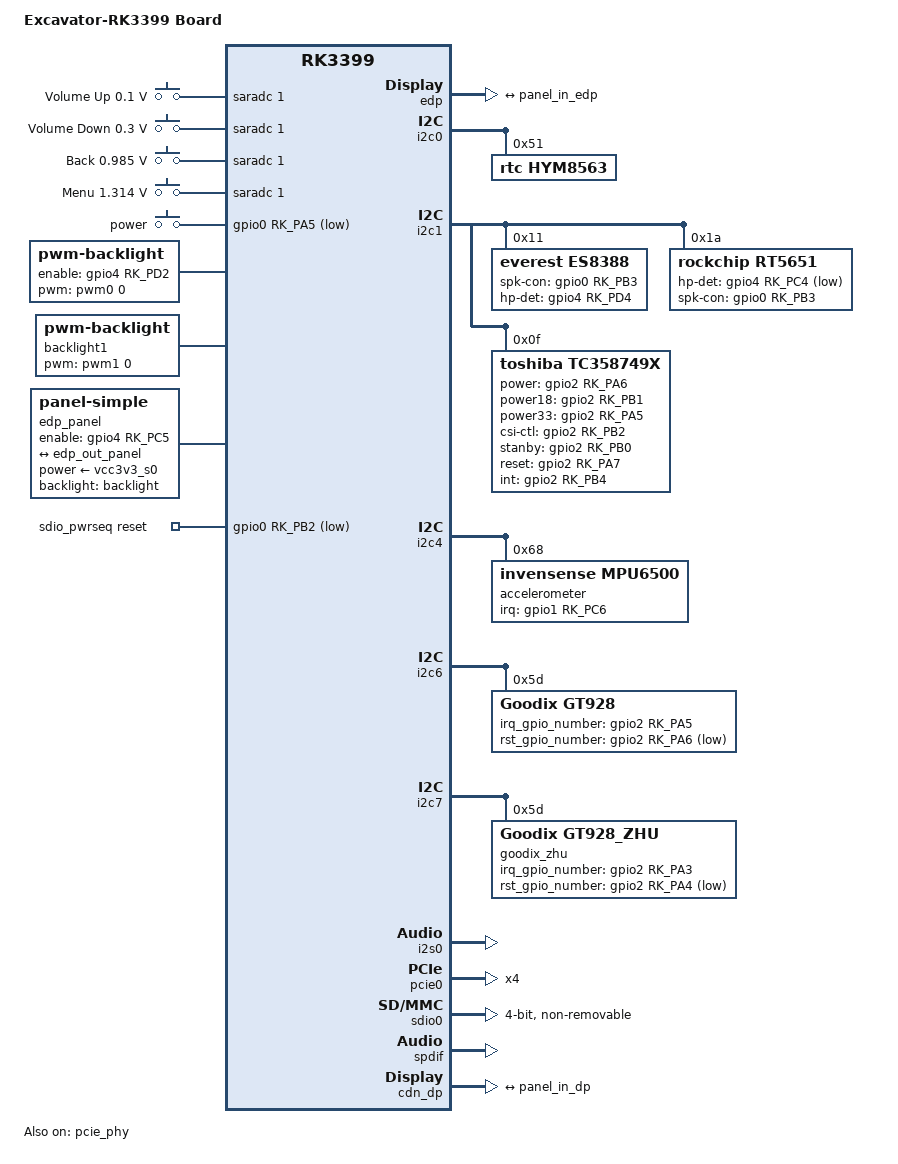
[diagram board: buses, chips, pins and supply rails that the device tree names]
// SPDX-License-Identifier: (GPL-2.0+ OR MIT)
/*
 * Copyright (c) 2017 Fuzhou Rockchip Electronics Co., Ltd.
 */

/dts-v1/;
#include "rk3399-sapphire.dtsi"

/ {
	model = "Excavator-RK3399 Board";
	compatible = "rockchip,rk3399-sapphire-excavator", "rockchip,rk3399";

	aliases {
		mmc2 = &sdio0;
	};

	adc-keys {
		compatible = "adc-keys";
		io-channels = <&saradc 1>;
		io-channel-names = "buttons";
		keyup-threshold-microvolt = <1800000>;
		poll-interval = <100>;

		button-up {
			label = "Volume Up";
			linux,code = <KEY_VOLUMEUP>;
			press-threshold-microvolt = <100000>;
		};

		button-down {
			label = "Volume Down";
			linux,code = <KEY_VOLUMEDOWN>;
			press-threshold-microvolt = <300000>;
		};

		button-back {
			label = "Back";
			linux,code = <KEY_BACK>;
			press-threshold-microvolt = <985000>;
		};

		button-menu {
			label = "Menu";
			linux,code = <KEY_MENU>;
			press-threshold-microvolt = <1314000>;
		};
	};

    rockchip-key {
        compatible = "gpio-keys";
        status = "okay";
        power-key {
            gpios = <&gpio0 RK_PA5 GPIO_ACTIVE_LOW>;
            linux,code = <0x74>;
            label = "power";
            gpio-key,wakeup;
        };
    };

	backlight: backlight {
		compatible = "pwm-backlight";
		brightness-levels = <
			  0   1   2   3   4   5   6   7
			  8   9  10  11  12  13  14  15
			 16  17  18  19  20  21  22  23
			 24  25  26  27  28  29  30  31
			 32  33  34  35  36  37  38  39
			 40  41  42  43  44  45  46  47
			 48  49  50  51  52  53  54  55
			 56  57  58  59  60  61  62  63
			 64  65  66  67  68  69  70  71
			 72  73  74  75  76  77  78  79
			 80  81  82  83  84  85  86  87
			 88  89  90  91  92  93  94  95
			 96  97  98  99 100 101 102 103
			104 105 106 107 108 109 110 111
			112 113 114 115 116 117 118 119
			120 121 122 123 124 125 126 127
			128 129 130 131 132 133 134 135
			136 137 138 139 140 141 142 143
			144 145 146 147 148 149 150 151
			152 153 154 155 156 157 158 159
			160 161 162 163 164 165 166 167
			168 169 170 171 172 173 174 175
			176 177 178 179 180 181 182 183
			184 185 186 187 188 189 190 191
			192 193 194 195 196 197 198 199
			200 201 202 203 204 205 206 207
			208 209 210 211 212 213 214 215
			216 217 218 219 220 221 222 223
			224 225 226 227 228 229 230 231
			232 233 234 235 236 237 238 239
			240 241 242 243 244 245 246 247
			248 249 250 251 252 253 254 255>;
		default-brightness-level = <200>;
		enable-gpios = <&gpio4 RK_PD2 GPIO_ACTIVE_HIGH>;//0x1a->26 24d0 25d1 26d2
		pwms = <&pwm0 0 25000 1>;
		status = "okay";
	};
	backlight1: backlight1 {
		compatible = "pwm-backlight";
		brightness-levels = <
			  0   1   2   3   4   5   6   7
			  8   9  10  11  12  13  14  15
			 16  17  18  19  20  21  22  23
			 24  25  26  27  28  29  30  31
			 32  33  34  35  36  37  38  39
			 40  41  42  43  44  45  46  47
			 48  49  50  51  52  53  54  55
			 56  57  58  59  60  61  62  63
			 64  65  66  67  68  69  70  71
			 72  73  74  75  76  77  78  79
			 80  81  82  83  84  85  86  87
			 88  89  90  91  92  93  94  95
			 96  97  98  99 100 101 102 103
			104 105 106 107 108 109 110 111
			112 113 114 115 116 117 118 119
			120 121 122 123 124 125 126 127
			128 129 130 131 132 133 134 135
			136 137 138 139 140 141 142 143
			144 145 146 147 148 149 150 151
			152 153 154 155 156 157 158 159
			160 161 162 163 164 165 166 167
			168 169 170 171 172 173 174 175
			176 177 178 179 180 181 182 183
			184 185 186 187 188 189 190 191
			192 193 194 195 196 197 198 199
			200 201 202 203 204 205 206 207
			208 209 210 211 212 213 214 215
			216 217 218 219 220 221 222 223
			224 225 226 227 228 229 230 231
			232 233 234 235 236 237 238 239
			240 241 242 243 244 245 246 247
			248 249 250 251 252 253 254 255>;
		default-brightness-level = <200>;
		// enable-gpios = <&gpio4 RK_PD2 GPIO_ACTIVE_HIGH>;//0x1a->26 24d0 25d1 26d2
		pwms = <&pwm1 0 25000 1>;
		status = "okay";
	};

	edp_panel: edp-panel {
		compatible = "panel-simple";
		backlight = <&backlight>;
		enable-gpios = <&gpio4 RK_PC5 GPIO_ACTIVE_HIGH>;//0x15->21 16c0 17c1 18c2 19c3 20c4  21c5
		// pinctrl-names = "default";
		// pinctrl-0 = <&lcd_panel_reset>;
		prepare-delay-ms = <200>;
        enable-delay-ms = <200>;
		power-supply = <&vcc3v3_s0>;
		status = "okay";

		display-timings {
            native-mode = <&timing0>;
            timing0: timing0 {
                clock-frequency = <96000000>;
                hactive = <1600>;
                vactive = <900>;
                hfront-porch = <148>;
                hsync-len = <80>;
                hback-porch = <180>;
                vfront-porch = <60>;
                vsync-len = <20>;
                vback-porch = <80>;
                hsync-active = <0>;
                vsync-active = <0>;
                de-active = <0>;
                pixelclk-active = <0>;
            };
        };
		port {
			panel_in_edp: endpoint {
				remote-endpoint = <&edp_out_panel>;
			};
		};
	};

	rt5651-sound {
		compatible = "simple-audio-card";
		simple-audio-card,name = "realtek,rt5651-codec";
		simple-audio-card,format = "i2s";
		simple-audio-card,mclk-fs = <256>;
		simple-audio-card,widgets =
			"Microphone", "Mic Jack",
			"Headphone", "Headphone Jack";
		simple-audio-card,routing =
			"Mic Jack", "MICBIAS1",
			"IN1P", "Mic Jack",
			"Headphone Jack", "HPOL",
			"Headphone Jack", "HPOR";
		simple-audio-card,cpu {
			sound-dai = <&i2s0>;
		};
		simple-audio-card,codec {
			sound-dai = <&rt5651>;
		};
	};

	es8388-sound {
		status = "okay";
		compatible = "simple-audio-card";
		simple-audio-card,format = "i2s";
		simple-audio-card,name = "rockchip,es8388-codec";
		simple-audio-card,mclk-fs = <256>;
		simple-audio-card,cpu {
			sound-dai = <&i2s0>;
			system-clock-frequency = <11289600>;
		};
		simple-audio-card,codec {
			sound-dai = <&es8388>;
			system-clock-frequency = <11289600>;
		};
	};

	//摄像头声音输入
    hdmiin-sound {
        compatible = "rockchip,rockchip-rt5651-tc358749x-sound";
        rockchip,cpu = <&i2s0>;
        rockchip,codec = <&rt5651 &rt5651 &tc358749x>;
        status = "okay";
    };

	sdio_pwrseq: sdio-pwrseq {
		compatible = "mmc-pwrseq-simple";
		clocks = <&rk808 1>;
		clock-names = "ext_clock";
		pinctrl-names = "default";
		pinctrl-0 = <&wifi_enable_h>;

		/*
		 * On the module itself this is one of these (depending
		 * on the actual card populated):
		 * - SDIO_RESET_L_WL_REG_ON
		 * - PDN (power down when low)
		 */
		reset-gpios = <&gpio0 RK_PB2 GPIO_ACTIVE_LOW>;
	};
};

&edp {
	status = "okay";

	ports {
		edp_out: port@1 {
			reg = <1>;
			#address-cells = <1>;
			#size-cells = <0>;

			edp_out_panel: endpoint@0 {
				reg = <0>;
				remote-endpoint = <&panel_in_edp>;
			};
		};
	};
};
&i2c0 {
	status = "okay";

	rtc@51 {
		compatible = "rtc,hym8563";
		reg = <0x51>;
	};
};

&i2c1 {
	i2c-scl-rising-time-ns = <300>;
	i2c-scl-falling-time-ns = <15>;
	status = "okay";

	es8388: es8388@11 {
		#sound-dai-cells = <0>;
		compatible = "everest,es8388";
		reg = <0x11>;
		clocks = <&cru SCLK_I2S_8CH_OUT>;
		clock-names = "mclk";
		pinctrl-names = "default";
		pinctrl-0 = <0x0000003f>;
		spk-con-gpio = <&gpio0 RK_PB3 GPIO_ACTIVE_HIGH>;//b->11 8b0 9b1 10b2 11b3 gpio0 
		hp-det-gpio = <&gpio4 RK_PD4 GPIO_ACTIVE_HIGH>;//1c->28 24pd0 25pd1 26pd2 27pd3 28pd4 gpio4
		status = "okay";
	};
	rt5651: rt5651@1a {
		#sound-dai-cells = <0>;
		compatible = "rockchip,rt5651";
		reg = <0x1a>;
		clocks = <&cru SCLK_I2S_8CH_OUT>;
		clock-names = "mclk";
		hp-det-gpio = <&gpio4 RK_PC4 GPIO_ACTIVE_LOW>;
		spk-con-gpio = <&gpio0 RK_PB3 GPIO_ACTIVE_HIGH>;
	};

	//摄像头声音输入通道，没用且没驱动
	tc358749x: tc358749x@f {
		compatible = "toshiba,tc358749x";
		reg = <0xf>;
		power-gpios = <&gpio2 RK_PA6 GPIO_ACTIVE_HIGH>;
		power18-gpios = <&gpio2 RK_PB1 GPIO_ACTIVE_HIGH>;//8b0 9b1gpio2
		power33-gpios = <&gpio2 RK_PA5 GPIO_ACTIVE_HIGH>;
		csi-ctl-gpios = <&gpio2 RK_PB2 GPIO_ACTIVE_HIGH>;//a->10 10b2gpio2
		stanby-gpios = <&gpio2 RK_PB0 GPIO_ACTIVE_HIGH>;
		reset-gpios = <&gpio2 RK_PA7 GPIO_ACTIVE_HIGH>;
		int-gpios = <&gpio2 RK_PB4 GPIO_ACTIVE_HIGH>;//c->12 11b3 12b4 gpio2
		pinctrl-names = "default";
		pinctrl-0 = <&hdmiin_gpios>;
		status = "okay";
	};
};

&i2c4 {
	i2c-scl-rising-time-ns = <600>;
	i2c-scl-falling-time-ns = <20>;
	status = "okay";

	accelerometer@68 {
		compatible = "invensense,mpu6500";
		reg = <0x68>;
		interrupt-parent = <&gpio1>;
		interrupts = <RK_PC6 IRQ_TYPE_EDGE_RISING>;
	};
};

&i2c6 {
	status = "okay";
	goodix@5d {
		compatible = "Goodix,GT928";
		reg = <0x5d>;
		tp-size = <911>;
		max-x = <1920>;
		max-y = <1080>;
		configfile-num = <10>;
		irq_gpio_number = <&gpio2 RK_PA5 GPIO_SINGLE_ENDED>;
		rst_gpio_number = <&gpio2 RK_PA6 GPIO_ACTIVE_LOW>;
	};
};
&i2c7 {
	status = "okay";
	goodix_zhu@5d {
		compatible = "Goodix,GT928_zhu";
		reg = <0x5d>;
		tp-size = <911>;
		max-x = <1920>;
		max-y = <1080>;
		configfile-num = <10>;
		irq_gpio_number = <&gpio2 RK_PA3 GPIO_SINGLE_ENDED>;
		rst_gpio_number = <&gpio2 RK_PA4 GPIO_ACTIVE_LOW>;
	};
};

&i2s0 {
	rockchip,playback-channels = <8>;
	rockchip,capture-channels = <8>;
	status = "okay";
};

&pcie_phy {
	status = "okay";
};

&pcie0 {
	ep-gpios = <&gpio2 RK_PA4 GPIO_ACTIVE_HIGH>;
	num-lanes = <4>;
	pinctrl-names = "default";
	pinctrl-0 = <&pcie_clkreqn_cpm>;
	status = "okay";
};

&pinctrl {
	sdio-pwrseq {
		wifi_enable_h: wifi-enable-h {
			rockchip,pins = <0 RK_PB2 RK_FUNC_GPIO &pcfg_pull_none>;
		};
	};

	lcd-panel {
		lcd_panel_reset: lcd-panel-reset {
			rockchip,pins = <4 RK_PD6 RK_FUNC_GPIO &pcfg_pull_up>;
		};
	};
	hdmiin {
		hdmiin_gpios:hdmiin-gpios {
			rockchip,pins = 
			<2 RK_PA5 0 &pcfg_pull_none>,
			<2 RK_PA6 0 &pcfg_pull_none>,
			<2 RK_PA7 0 &pcfg_pull_none>,
			<2 RK_PB0 0 &pcfg_pull_none>,
			<2 RK_PB1 0 &pcfg_pull_none>,
			<2 RK_PB4 0 &pcfg_pull_none>;
		};
	};
};

&sdio0 {
	bus-width = <4>;
	cap-sd-highspeed;
	cap-sdio-irq;
	clock-frequency = <50000000>;
	keep-power-in-suspend;
	max-frequency = <50000000>;
	mmc-pwrseq = <&sdio_pwrseq>;
	non-removable;
	pinctrl-names = "default";
	pinctrl-0 = <&sdio0_bus4 &sdio0_cmd &sdio0_clk>;
	sd-uhs-sdr104;
	status = "okay";
};

&spdif {
	status = "okay";
};

&cdn_dp{
	status = "okay";
	
	dp_out: port@1 {
		#address-cells = <1>;
		#size-cells = <0>;
		reg = <0x1>;
		dp_out_panel:endpoint {
			remote-endpoint = <&panel_in_dp>;
		};
	};
};

dppanel: panel {
	compatible = "panel-simple";
	enable-gpios = <&gpio4 RK_PD5 GPIO_ACTIVE_HIGH>;//1d->29  24d0 25d1 26d2 27d3 28d4 29d5 gpio4
	enable1-gpios = <&gpio4 RK_PA5 GPIO_ACTIVE_HIGH>;
	prepare-delay-ms = <100>;
	bpc = <8>;
	bus-format = <0x1015>;
	display-timings {
		native-mode = <&timing1>;
		timing1: timing1 {
			clock-frequency = <96000000>;
			hactive = <1600>;
			vactive = <900>;
			hfront-porch = <48>;
			hsync-len = <32>;
			hback-porch = <80>;
			vfront-porch = <6>;
			vsync-len = <10>;
			vback-porch = <15>;
			hsync-active = <0>;
			vsync-active = <0>;
			de-active = <0>;
			pixelclk-active = <0>;
		};
	};
	port {
		panel_in_dp:endpoint {
			remote-endpoint = <&dp_out_panel>;
		};
	};
};

//驱动适配步骤：1,lcd 2,eth 3,touch 4,i2c 5,sound 6,wifi-bt pcie sata usb gpiokey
